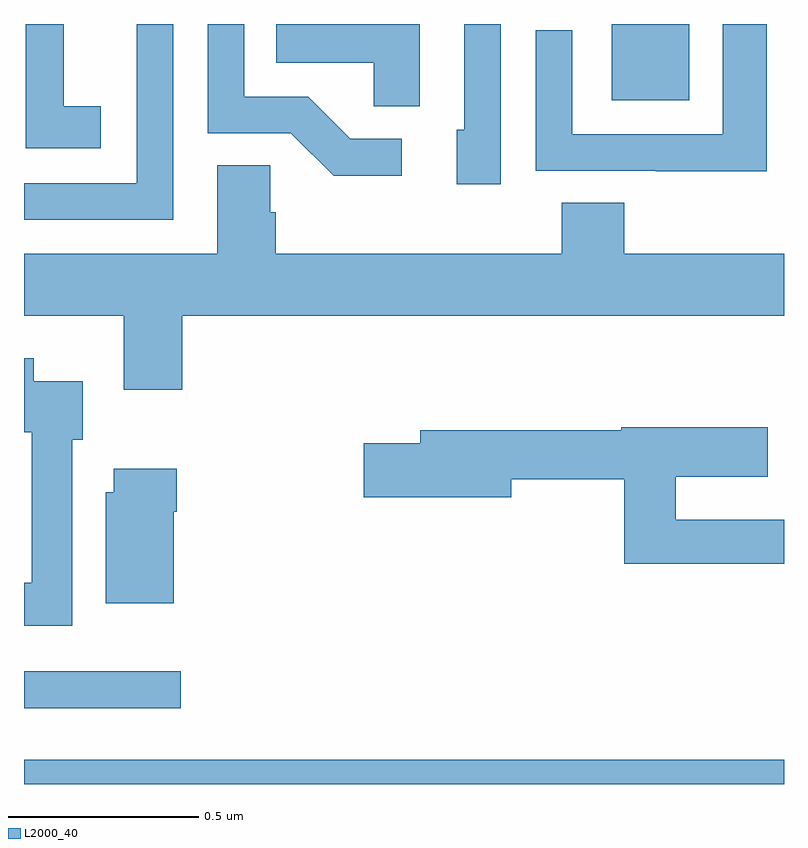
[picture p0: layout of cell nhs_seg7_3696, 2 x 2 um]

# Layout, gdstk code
import gdstk
lib = gdstk.Library(unit=1e-6, precision=1e-09)
def R(c, l, rs):  # rectangles x0, y0, x1, y1
    for r in rs: c.add(gdstk.rectangle(r[:2], r[2:], *l))
def P(c, l, *ps):  # polygons
    for p in ps: c.add(gdstk.Polygon(p, *l))
L2000_40 = (2000, 40)

nhs_seg7_3696 = lib.new_cell('nhs_seg7_3696')
R(nhs_seg7_3696, L2000_40, [(162,1050,164,1050.064), (162,1050.2,162.412,1050.297), (163.547,1051.799,163.75,1052)])
P(nhs_seg7_3696, L2000_40, [(162.994,1051.698),(162.859,1051.698),(162.748,1051.809),(162.579,1051.809),(162.579,1052),(162.483,1052),(162.483,1051.713),(162.702,1051.713),(162.815,1051.601),(162.994,1051.601)],
  [(162.393,1052),(162.297,1052),(162.297,1051.581),(162,1051.581),(162,1051.485),(162.393,1051.485)],
  [(163.254,1052),(163.158,1052),(163.158,1051.722),(163.139,1051.722),(163.139,1051.578),(163.254,1051.578)],
  [(163.955,1052),(163.839,1052),(163.839,1051.71),(163.443,1051.71),(163.443,1051.984),(163.347,1051.984),(163.347,1051.614),(163.663,1051.614),(163.663,1051.613),(163.955,1051.613)],
  [(162.202,1051.783),(162.104,1051.783),(162.104,1052),(162.005,1052),(162.005,1051.879),(162.004,1051.879),(162.004,1051.673),(162.202,1051.673)],
  [(163.042,1052),(162.664,1052),(162.664,1051.898),(162.921,1051.898),(162.921,1051.783),(163.042,1051.783)],
  [(162.416,1051.232),(164,1051.232),(164,1051.396),(163.58,1051.396),(163.58,1051.529),(163.415,1051.529),(163.415,1051.396),(162.662,1051.396),(162.662,1051.505),(162.648,1051.505),(162.648,1051.628),(162.509,1051.628),(162.509,1051.396),(162,1051.396),(162,1051.232),(162.263,1051.232),(162.263,1051.038),(162.416,1051.038)],
  [(162.127,1050.906),(162.154,1050.906),(162.154,1051.06),(162.025,1051.06),(162.025,1051.12),(162,1051.12),(162,1050.926),(162.02,1050.926),(162.02,1050.53),(162,1050.53),(162,1050.417),(162.127,1050.417)],
  [(164,1050.696),(163.715,1050.696),(163.715,1050.809),(163.957,1050.809),(163.957,1050.939),(163.572,1050.939),(163.572,1050.931),(163.043,1050.931),(163.043,1050.897),(162.894,1050.897),(162.894,1050.755),(163.282,1050.755),(163.282,1050.802),(163.579,1050.802),(163.579,1050.58),(164,1050.58)],
  [(162.394,1050.716),(162.402,1050.716),(162.402,1050.829),(162.236,1050.829),(162.236,1050.768),(162.215,1050.768),(162.215,1050.476),(162.394,1050.476)])

lib.write_gds('nhs_seg7_3696.gds')
